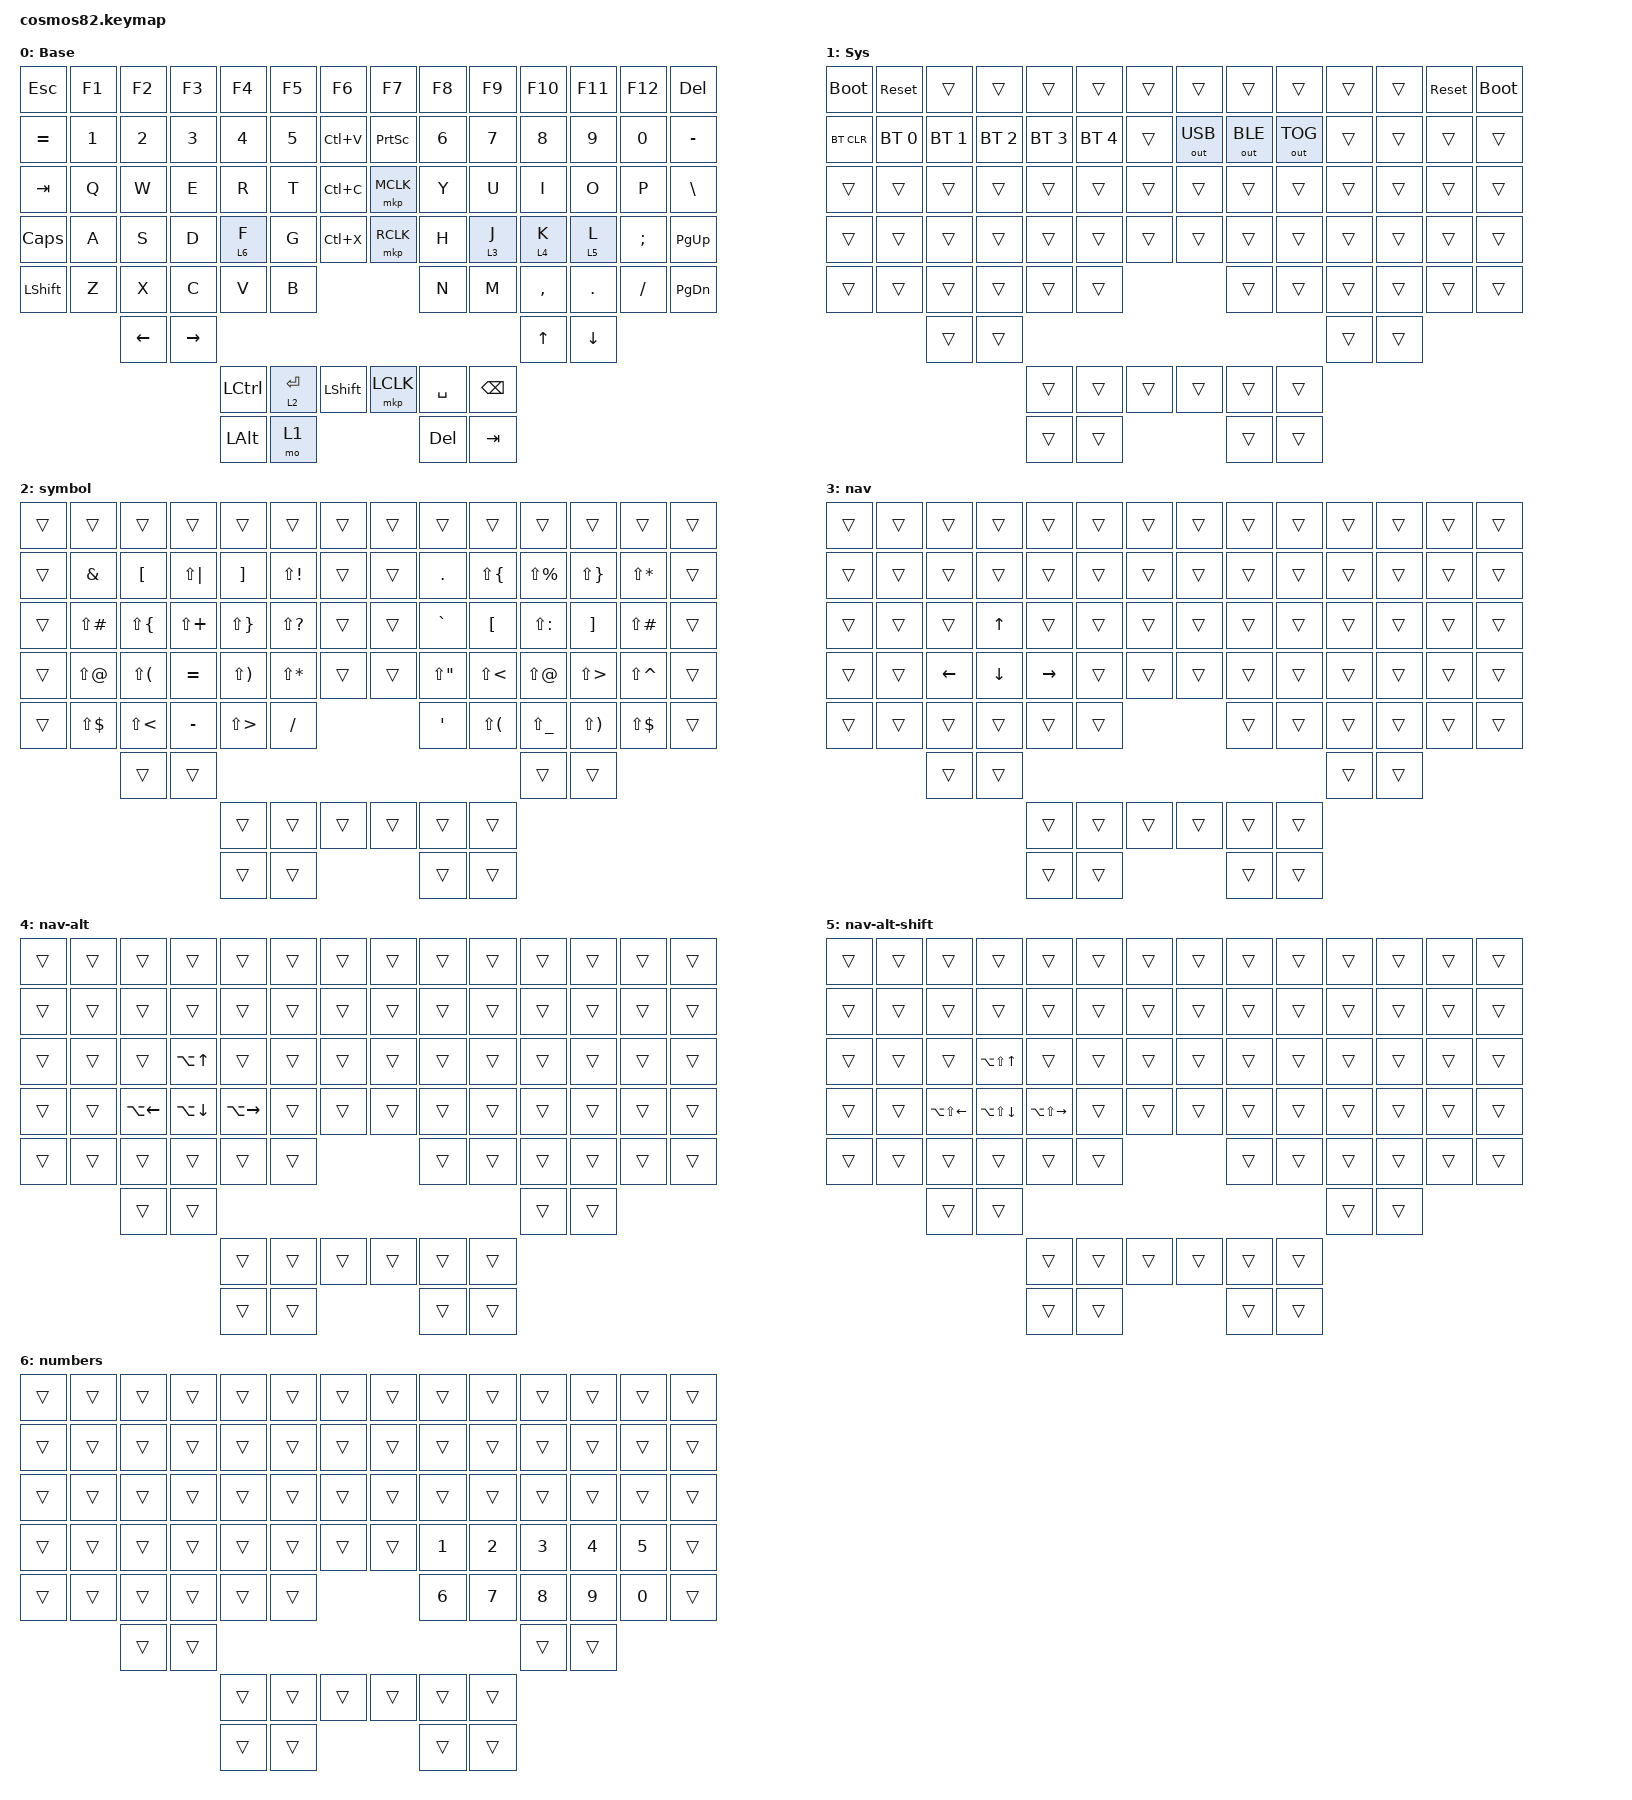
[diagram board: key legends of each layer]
/*
 * Copyright (c) 2026 OD
 *
 * SPDX-License-Identifier: MIT
 *
 * Laid out in PHYSICAL order, matching the map in cosmos82.dtsi: left to
 * right, top to bottom, as you look down at the board.
 *
 * Per half: 7/7/7/7 on finger rows 0-3, 6 on row 4, 2 on row 5, then a 5-key
 * thumb cluster (3 upper, 2 lower). 41 keys per half, 82 total.
 *
 * SYS is a tri-layer: hold both thumb layer keys (NAV + SYM) to reach it.
 */

#include <behaviors.dtsi>
#include <dt-bindings/zmk/bt.h>
#include <dt-bindings/zmk/keys.h>
#include <dt-bindings/zmk/outputs.h>
#include <dt-bindings/zmk/pointing.h>

/ {
    keymap {
        compatible = "zmk,keymap";

        base_layer {
            display-name = "Base";
            bindings = <
&kp ESC    &kp F1  &kp F2          &kp F3     &kp F4     &kp F5       &kp F6          &kp F7           &kp F8     &kp F9         &kp F10       &kp F11         &kp F12   &kp DEL
&kp EQUAL  &kp N1  &kp N2          &kp N3     &kp N4     &kp N5       &kp LC(V)       &kp PRINTSCREEN  &kp N6     &kp N7         &kp N8        &kp N9          &kp N0    &kp MINUS
&kp TAB    &kp Q   &kp W           &kp E      &kp R      &kp T        &kp LC(C)       &mkp MCLK        &kp Y      &kp U          &kp I         &kp O           &kp P     &kp BSLH
&kp CAPS   &kp A   &kp S           &kp D      &lt 6 F    &kp G        &kp LC(X)       &mkp RCLK        &kp H      &lt 3 J        &lt 4 K       &lt 5 L         &kp SEMI  &kp PAGE_UP
&kp LSHFT  &kp Z   &kp X           &kp C      &kp V      &kp B                                         &kp N      &kp M          &kp COMMA     &kp DOT         &kp FSLH  &kp PAGE_DOWN
                   &kp LEFT_ARROW  &kp RIGHT                                                                                     &kp UP_ARROW  &kp DOWN_ARROW
                                              &kp LCTRL  &lt 2 ENTER  &kp LEFT_SHIFT  &mkp LCLK        &kp SPACE  &kp BACKSPACE
                                              &kp LALT   &mo 1                                         &kp DEL    &kp TAB
            >;
        };

        sys_layer {
            display-name = "Sys";
            bindings = <
&bootloader  &sys_reset    &trans        &trans        &trans        &trans        &trans  &trans        &trans        &trans        &trans  &trans  &sys_reset  &bootloader
&bt BT_CLR   &bt BT_SEL 0  &bt BT_SEL 1  &bt BT_SEL 2  &bt BT_SEL 3  &bt BT_SEL 4  &trans  &out OUT_USB  &out OUT_BLE  &out OUT_TOG  &trans  &trans  &trans      &trans
&trans       &trans        &trans        &trans        &trans        &trans        &trans  &trans        &trans        &trans        &trans  &trans  &trans      &trans
&trans       &trans        &trans        &trans        &trans        &trans        &trans  &trans        &trans        &trans        &trans  &trans  &trans      &trans
&trans       &trans        &trans        &trans        &trans        &trans                              &trans        &trans        &trans  &trans  &trans      &trans
                           &trans        &trans                                                                                      &trans  &trans
                                                       &trans        &trans        &trans  &trans        &trans        &trans
                                                       &trans        &trans                              &trans        &trans
            >;
        };

        symbol {
            bindings = <
&trans  &trans         &trans        &trans        &trans        &trans         &trans  &trans  &trans       &trans        &trans         &trans        &trans         &trans
&trans  &kp AMPERSAND  &kp LBKT      &kp LS(PIPE)  &kp RBKT      &kp LS(EXCL)   &trans  &trans  &kp DOT      &kp LS(LBRC)  &kp LS(PRCNT)  &kp LS(RBRC)  &kp LS(STAR)   &trans
&trans  &kp LS(POUND)  &kp LS(LBRC)  &kp LS(PLUS)  &kp LS(RBRC)  &kp LS(QMARK)  &trans  &trans  &kp GRAVE    &kp LBKT      &kp LS(COLON)  &kp RBKT      &kp LS(POUND)  &trans
&trans  &kp LS(AT)     &kp LS(LPAR)  &kp EQUAL     &kp LS(RPAR)  &kp LS(STAR)   &trans  &trans  &kp LS(DQT)  &kp LS(LT)    &kp LS(AT)     &kp LS(GT)    &kp LS(CARET)  &trans
&trans  &kp LS(DLLR)   &kp LS(LT)    &kp MINUS     &kp LS(GT)    &kp FSLH                       &kp SQT      &kp LS(LPAR)  &kp LS(UNDER)  &kp LS(RPAR)  &kp LS(DLLR)   &trans
                       &trans        &trans                                                                                &trans         &trans
                                                   &trans        &trans         &trans  &trans  &trans       &trans
                                                   &trans        &trans                         &trans       &trans
            >;
        };

        nav {
            bindings = <
&trans  &trans  &trans          &trans          &trans           &trans  &trans  &trans  &trans  &trans  &trans  &trans  &trans  &trans
&trans  &trans  &trans          &trans          &trans           &trans  &trans  &trans  &trans  &trans  &trans  &trans  &trans  &trans
&trans  &trans  &trans          &kp UP_ARROW    &trans           &trans  &trans  &trans  &trans  &trans  &trans  &trans  &trans  &trans
&trans  &trans  &kp LEFT_ARROW  &kp DOWN_ARROW  &kp RIGHT_ARROW  &trans  &trans  &trans  &trans  &trans  &trans  &trans  &trans  &trans
&trans  &trans  &trans          &trans          &trans           &trans                  &trans  &trans  &trans  &trans  &trans  &trans
                &trans          &trans                                                                   &trans  &trans
                                                &trans           &trans  &trans  &trans  &trans  &trans
                                                &trans           &trans                  &trans  &trans
            >;
        };

        nav-alt {
            bindings = <
&trans  &trans  &trans              &trans              &trans               &trans  &trans  &trans  &trans  &trans  &trans  &trans  &trans  &trans
&trans  &trans  &trans              &trans              &trans               &trans  &trans  &trans  &trans  &trans  &trans  &trans  &trans  &trans
&trans  &trans  &trans              &kp LA(UP_ARROW)    &trans               &trans  &trans  &trans  &trans  &trans  &trans  &trans  &trans  &trans
&trans  &trans  &kp LA(LEFT_ARROW)  &kp LA(DOWN_ARROW)  &kp LA(RIGHT_ARROW)  &trans  &trans  &trans  &trans  &trans  &trans  &trans  &trans  &trans
&trans  &trans  &trans              &trans              &trans               &trans                  &trans  &trans  &trans  &trans  &trans  &trans
                &trans              &trans                                                                           &trans  &trans
                                                        &trans               &trans  &trans  &trans  &trans  &trans
                                                        &trans               &trans                  &trans  &trans
            >;
        };

        nav-alt-shift {
            bindings = <
&trans  &trans  &trans                  &trans                  &trans                   &trans  &trans  &trans  &trans  &trans  &trans  &trans  &trans  &trans
&trans  &trans  &trans                  &trans                  &trans                   &trans  &trans  &trans  &trans  &trans  &trans  &trans  &trans  &trans
&trans  &trans  &trans                  &kp LA(LS(UP_ARROW))    &trans                   &trans  &trans  &trans  &trans  &trans  &trans  &trans  &trans  &trans
&trans  &trans  &kp LA(LS(LEFT_ARROW))  &kp LA(LS(DOWN_ARROW))  &kp LA(LS(RIGHT_ARROW))  &trans  &trans  &trans  &trans  &trans  &trans  &trans  &trans  &trans
&trans  &trans  &trans                  &trans                  &trans                   &trans                  &trans  &trans  &trans  &trans  &trans  &trans
                &trans                  &trans                                                                                   &trans  &trans
                                                                &trans                   &trans  &trans  &trans  &trans  &trans
                                                                &trans                   &trans                  &trans  &trans
            >;
        };

        numbers {
            bindings = <
&trans  &trans  &trans  &trans  &trans  &trans  &trans  &trans  &trans  &trans  &trans  &trans  &trans  &trans
&trans  &trans  &trans  &trans  &trans  &trans  &trans  &trans  &trans  &trans  &trans  &trans  &trans  &trans
&trans  &trans  &trans  &trans  &trans  &trans  &trans  &trans  &trans  &trans  &trans  &trans  &trans  &trans
&trans  &trans  &trans  &trans  &trans  &trans  &trans  &trans  &kp N1  &kp N2  &kp N3  &kp N4  &kp N5  &trans
&trans  &trans  &trans  &trans  &trans  &trans                  &kp N6  &kp N7  &kp N8  &kp N9  &kp N0  &trans
                &trans  &trans                                                  &trans  &trans
                                &trans  &trans  &trans  &trans  &trans  &trans
                                &trans  &trans                  &trans  &trans
            >;
        };
    };
};
